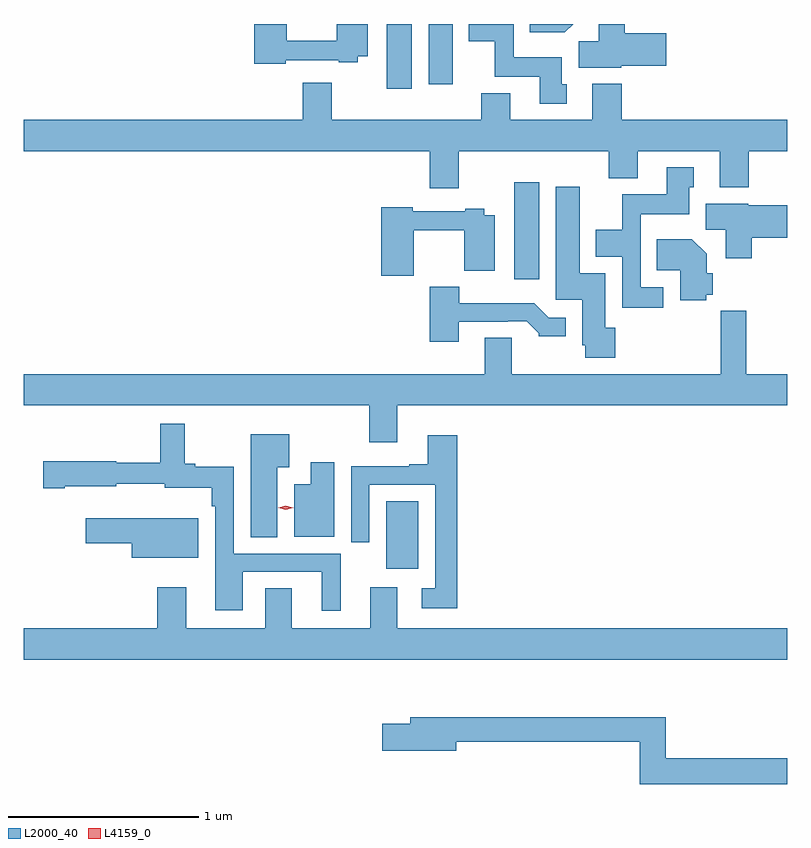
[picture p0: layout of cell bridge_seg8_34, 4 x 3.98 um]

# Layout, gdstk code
import gdstk
lib = gdstk.Library(unit=1e-6, precision=1e-09)
def R(c, l, rs):  # rectangles x0, y0, x1, y1
    for r in rs: c.add(gdstk.rectangle(r[:2], r[2:], *l))
def P(c, l, *ps):  # polygons
    for p in ps: c.add(gdstk.Polygon(p, *l))
L2000_40 = (2000, 40)
L4159_0 = (4159, 0)

bridge_seg8_34 = lib.new_cell('bridge_seg8_34')
R(bridge_seg8_34, L2000_40, [(1045.589,1136.955,1045.756,1137.311), (1046.258,1138.473,1046.389,1138.981), (1045.592,1139.472,1045.723,1139.811), (1045.811,1139.496,1045.936,1139.811)])
P(bridge_seg8_34, L2000_40, [(1046.567,1139.811),(1046.341,1139.811),(1046.341,1139.768),(1046.524,1139.768)],
  [(1046.82,1139.591),(1047.055,1139.591),(1047.055,1139.762),(1046.837,1139.762),(1046.837,1139.811),(1046.702,1139.811),(1046.702,1139.72),(1046.597,1139.72),(1046.597,1139.582),(1046.82,1139.582)],
  [(1045.062,1139.622),(1045.34,1139.622),(1045.34,1139.61),(1045.44,1139.61),(1045.44,1139.642),(1045.492,1139.642),(1045.492,1139.811),(1045.33,1139.811),(1045.33,1139.723),(1045.066,1139.723),(1045.066,1139.811),(1044.896,1139.811),(1044.896,1139.602),(1045.062,1139.602)],
  [(1046.533,1139.496),(1046.509,1139.496),(1046.509,1139.638),(1046.256,1139.638),(1046.256,1139.811),(1046.021,1139.811),(1046.021,1139.72),(1046.158,1139.72),(1046.158,1139.534),(1046.393,1139.534),(1046.393,1139.394),(1046.533,1139.394)],
  [(1046.669,1139.308),(1046.239,1139.308),(1046.239,1139.449),(1046.087,1139.449),(1046.087,1139.308),(1045.303,1139.308),(1045.303,1139.503),(1045.151,1139.503),(1045.151,1139.308),(1043.689,1139.308),(1043.689,1139.144),(1045.817,1139.144),(1045.817,1138.95),(1045.969,1138.95),(1045.969,1139.144),(1046.753,1139.144),(1046.753,1139.003),(1046.905,1139.003),(1046.905,1139.144),(1047.335,1139.144),(1047.335,1138.955),(1047.488,1138.955),(1047.488,1139.144),(1047.689,1139.144),(1047.689,1139.308),(1046.822,1139.308),(1046.822,1139.497),(1046.669,1139.497)],
  [(1047.04,1138.431),(1046.922,1138.431),(1046.922,1138.814),(1047.175,1138.814),(1047.175,1138.956),(1047.199,1138.956),(1047.199,1139.059),(1047.059,1139.059),(1047.059,1138.918),(1046.824,1138.918),(1046.824,1138.732),(1046.687,1138.732),(1046.687,1138.592),(1046.826,1138.592),(1046.826,1138.323),(1047.04,1138.323)],
  [(1046.789,1138.218),(1046.737,1138.218),(1046.737,1138.504),(1046.602,1138.504),(1046.602,1138.957),(1046.477,1138.957),(1046.477,1138.365),(1046.615,1138.365),(1046.615,1138.128),(1046.632,1138.128),(1046.632,1138.062),(1046.789,1138.062)],
  [(1047.503,1138.691),(1047.689,1138.691),(1047.689,1138.861),(1047.486,1138.861),(1047.486,1138.87),(1047.263,1138.87),(1047.263,1138.732),(1047.368,1138.732),(1047.368,1138.584),(1047.503,1138.584)],
  [(1045.732,1138.729),(1045.996,1138.729),(1045.996,1138.517),(1046.158,1138.517),(1046.158,1138.81),(1046.103,1138.81),(1046.103,1138.843),(1046.003,1138.843),(1046.003,1138.83),(1045.728,1138.83),(1045.728,1138.851),(1045.562,1138.851),(1045.562,1138.491),(1045.732,1138.491)],
  [(1047.264,1138.392),(1047.299,1138.392),(1047.299,1138.506),(1047.268,1138.506),(1047.268,1138.606),(1047.19,1138.684),(1047.007,1138.684),(1047.007,1138.52),(1047.128,1138.52),(1047.128,1138.363),(1047.264,1138.363)],
  [(1045.969,1138.251),(1046.225,1138.251),(1046.225,1138.254),(1046.324,1138.254),(1046.388,1138.19),(1046.388,1138.175),(1046.53,1138.175),(1046.53,1138.272),(1046.439,1138.272),(1046.363,1138.348),(1045.972,1138.348),(1045.972,1138.435),(1045.817,1138.435),(1045.817,1138.146),(1045.969,1138.146)],
  [(1045.645,1137.812),(1047.689,1137.812),(1047.689,1137.976),(1047.476,1137.976),(1047.476,1138.309),(1047.34,1138.309),(1047.34,1137.976),(1046.245,1137.976),(1046.245,1138.166),(1046.105,1138.166),(1046.105,1137.976),(1043.689,1137.976),(1043.689,1137.812),(1045.498,1137.812),(1045.498,1137.618),(1045.645,1137.618)],
  [(1045.349,1137.036),(1044.789,1137.036),(1044.789,1137.49),(1044.588,1137.49),(1044.588,1137.507),(1044.532,1137.507),(1044.532,1137.715),(1044.403,1137.715),(1044.403,1137.511),(1044.174,1137.511),(1044.174,1137.519),(1043.79,1137.519),(1043.79,1137.377),(1043.902,1137.377),(1043.902,1137.389),(1044.174,1137.389),(1044.174,1137.401),(1044.426,1137.401),(1044.426,1137.38),(1044.673,1137.38),(1044.673,1137.284),(1044.693,1137.284),(1044.693,1136.739),(1044.835,1136.739),(1044.835,1136.94),(1045.25,1136.94),(1045.25,1136.736),(1045.349,1136.736)],
  [(1045.018,1137.488),(1045.081,1137.488),(1045.081,1137.661),(1044.878,1137.661),(1044.878,1137.121),(1045.018,1137.121)],
  [(1045.961,1137.655),(1045.805,1137.655),(1045.805,1137.505),(1045.709,1137.505),(1045.709,1137.492),(1045.404,1137.492),(1045.404,1137.096),(1045.5,1137.096),(1045.5,1137.396),(1045.845,1137.396),(1045.845,1136.853),(1045.773,1136.853),(1045.773,1136.748),(1045.961,1136.748)],
  [(1045.315,1137.514),(1045.193,1137.514),(1045.193,1137.4),(1045.106,1137.4),(1045.106,1137.125),(1045.315,1137.125)],
  [(1044.604,1137.22),(1044.012,1137.22),(1044.012,1137.091),(1044.254,1137.091),(1044.254,1137.014),(1044.604,1137.014)],
  [(1047.689,1136.644),(1045.645,1136.644),(1045.645,1136.86),(1045.505,1136.86),(1045.505,1136.644),(1045.093,1136.644),(1045.093,1136.855),(1044.953,1136.855),(1044.953,1136.644),(1044.541,1136.644),(1044.541,1136.86),(1044.389,1136.86),(1044.389,1136.644),(1043.689,1136.644),(1043.689,1136.48),(1047.689,1136.48)],
  [(1047.689,1135.964),(1047.053,1135.964),(1047.053,1136.179),(1045.715,1136.179),(1045.715,1136.145),(1045.566,1136.145),(1045.566,1136.003),(1045.954,1136.003),(1045.954,1136.05),(1046.917,1136.05),(1046.917,1135.828),(1047.689,1135.828)])
P(bridge_seg8_34, L4159_0, [(1045.061,1137.266),(1045.021,1137.276),(1045.02,1137.276),(1045.021,1137.276),(1045.061,1137.286),(1045.101,1137.276),(1045.101,1137.276),(1045.101,1137.276)])

lib.write_gds('bridge_seg8_34.gds')
